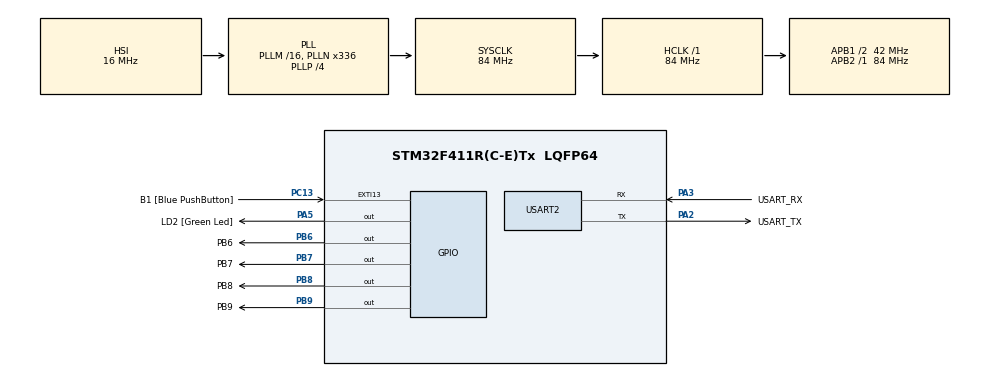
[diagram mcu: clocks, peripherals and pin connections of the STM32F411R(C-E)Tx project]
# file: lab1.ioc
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Mcu.Family=STM32F4
Mcu.Name=STM32F411R(C-E)Tx
Mcu.Package=LQFP64
NVIC.PriorityGroup=NVIC_PRIORITYGROUP_0
PA13.GPIO_Label=TMS
PA13.Mode=Serial_Wire
PA13.Signal=SYS_JTMS-SWDIO
PA14.GPIO_Label=TCK
PA14.Mode=Serial_Wire
PA14.Signal=SYS_JTCK-SWCLK
PA2.GPIO_Label=USART_TX
PA2.Mode=Asynchronous
PA2.Signal=USART2_TX
PA3.GPIO_Label=USART_RX
PA3.Mode=Asynchronous
PA3.Signal=USART2_RX
PA5.GPIO_Label=LD2 [Green Led]
PA5.Signal=GPIO_Output
PB3.GPIO_Label=SWO
PB3.Signal=SYS_JTDO-SWO
PB6.GPIO_Label=PB6
PB6.Signal=GPIO_Output
PB7.GPIO_Label=PB7
PB7.Signal=GPIO_Output
PB8.GPIO_Label=PB8
PB8.Signal=GPIO_Output
PB9.GPIO_Label=PB9
PB9.Signal=GPIO_Output
PC13-ANTI_TAMP.GPIO_Label=B1 [Blue PushButton]
PC13-ANTI_TAMP.GPIO_ModeDefaultEXTI=GPIO_MODE_IT_FALLING
PC13-ANTI_TAMP.Signal=GPXTI13
PC14-OSC32_IN.Mode=LSE-External-Oscillator
PC14-OSC32_IN.Signal=RCC_OSC32_IN
PC15-OSC32_OUT.Mode=LSE-External-Oscillator
PC15-OSC32_OUT.Signal=RCC_OSC32_OUT
PH0\ -\ OSC_IN.Mode=HSE-External-Clock-Source
PH0\ -\ OSC_IN.Signal=RCC_OSC_IN
PH1\ -\ OSC_OUT.Mode=HSE-External-Clock-Source
PH1\ -\ OSC_OUT.Signal=RCC_OSC_OUT
ProjectManager.HeapSize=0x200
ProjectManager.StackSize=0x400
ProjectManager.TargetToolchain=STM32CubeIDE
RCC.48MHZClocksFreq_Value=84000000
RCC.AHBFreq_Value=84000000
RCC.APB1CLKDivider=RCC_HCLK_DIV2
RCC.APB1Freq_Value=42000000
RCC.APB1TimFreq_Value=84000000
RCC.APB2Freq_Value=84000000
RCC.APB2TimFreq_Value=84000000
RCC.CortexFreq_Value=84000000
RCC.FLatency-AdvancedSettings=FLASH_LATENCY_2
RCC.HCLKFreq_Value=84000000
RCC.HSE_VALUE=8000000
RCC.HSI_VALUE=16000000
RCC.PLLN=336
RCC.PLLP=RCC_PLLP_DIV4
RCC.SYSCLKFreq_VALUE=84000000
RCC.SYSCLKSource=RCC_SYSCLKSOURCE_PLLCLK
RCC.VCOOutputFreq_Value=336000000
USART2.VirtualMode=VM_ASYNC
board=NUCLEO-F411RE

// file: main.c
/* USER CODE BEGIN Header */
/**
  ******************************************************************************
  * @file           : main.c
  * @brief          : Main program body
  ******************************************************************************
  * @attention
  *
  * Copyright (c) 2023 STMicroelectronics.
  * All rights reserved.
  *
  * This software is licensed under terms that can be found in the LICENSE file
  * in the root directory of this software component.
  * If no LICENSE file comes with this software, it is provided AS-IS.
  *
  ******************************************************************************
  */
/* USER CODE END Header */
#include "main.h"

UART_HandleTypeDef huart2;

void SystemClock_Config(void);
static void MX_GPIO_Init(void);
static void MX_USART2_UART_Init(void);

int main(void)
{
  /* USER CODE BEGIN 1 */
	GPIO_InitTypeDef GPIO_InitStruct = {0};
  /* USER CODE END 1 */

  /* MCU Configuration--------------------------------------------------------*/

  /* Reset of all peripherals, Initializes the Flash interface and the Systick. */
  HAL_Init();

  /* Configure the system clock */
  SystemClock_Config();

  /* Initialize all configured peripherals */
  MX_GPIO_Init();
  MX_USART2_UART_Init();

  /* Infinite loop */
  /* USER CODE BEGIN WHILE */
  while (1)
  {
	  // dioda 1
	  // czerwona 1
	  // Ustawieie wysokiej impedancji dla pinu 8 i 9
	  GPIO_InitStruct.Pin = PB8_Pin|PB9_Pin;
	  GPIO_InitStruct.Mode = GPIO_MODE_INPUT;
	  GPIO_InitStruct.Pull = GPIO_NOPULL;
	  HAL_GPIO_Init(GPIOB, &GPIO_InitStruct);

	  // Ustawienie output dla pinu 6 i 7
	  GPIO_InitStruct.Pin = PB6_Pin|PB7_Pin;
	  GPIO_InitStruct.Mode = GPIO_MODE_OUTPUT_PP;
	  GPIO_InitStruct.Pull = GPIO_NOPULL;
	  GPIO_InitStruct.Speed = GPIO_SPEED_FREQ_LOW;
	  HAL_GPIO_Init(GPIOB, &GPIO_InitStruct);

	  // Zapalenie diody czerwona 1
	  HAL_GPIO_WritePin(PB6_GPIO_Port, PB6_Pin, GPIO_PIN_SET);
	  HAL_GPIO_WritePin(PB9_GPIO_Port, PB7_Pin, GPIO_PIN_RESET);
	  HAL_Delay(500);

	  // zielona 1
	  // Ustawieie wysokiej impedancji dla pinu 7 i 9
	  GPIO_InitStruct.Pin = PB7_Pin|PB9_Pin;
	  GPIO_InitStruct.Mode = GPIO_MODE_INPUT;
	  GPIO_InitStruct.Pull = GPIO_NOPULL;
	  HAL_GPIO_Init(GPIOB, &GPIO_InitStruct);

	  // Ustawienie output dla pinu 6 i 8
	  GPIO_InitStruct.Pin = PB6_Pin|PB8_Pin;
	  GPIO_InitStruct.Mode = GPIO_MODE_OUTPUT_PP;
	  GPIO_InitStruct.Pull = GPIO_NOPULL;
	  GPIO_InitStruct.Speed = GPIO_SPEED_FREQ_LOW;
	  HAL_GPIO_Init(GPIOB, &GPIO_InitStruct);

	  // Zapalenie diody zielona 1
	  HAL_GPIO_WritePin(PB6_GPIO_Port, PB6_Pin, GPIO_PIN_SET);
	  HAL_GPIO_WritePin(PB9_GPIO_Port, PB8_Pin, GPIO_PIN_RESET);
	  HAL_Delay(500);

	  // niebieska 1
	  // Ustawieie wysokiej impedancji dla pinu 7 i 8
	  GPIO_InitStruct.Pin = PB7_Pin|PB8_Pin;
	  GPIO_InitStruct.Mode = GPIO_MODE_INPUT;
	  GPIO_InitStruct.Pull = GPIO_NOPULL;
	  HAL_GPIO_Init(GPIOB, &GPIO_InitStruct);

	  // Ustawienie output dla pinu 6 i 9
	  GPIO_InitStruct.Pin = PB6_Pin|PB9_Pin;
	  GPIO_InitStruct.Mode = GPIO_MODE_OUTPUT_PP;
	  GPIO_InitStruct.Pull = GPIO_NOPULL;
	  GPIO_InitStruct.Speed = GPIO_SPEED_FREQ_LOW;
	  HAL_GPIO_Init(GPIOB, &GPIO_InitStruct);

	  // Zapalenie diody niebieskiej 1
	  HAL_GPIO_WritePin(PB6_GPIO_Port, PB6_Pin, GPIO_PIN_SET);
	  HAL_GPIO_WritePin(PB9_GPIO_Port, PB9_Pin, GPIO_PIN_RESET);
	  HAL_Delay(500);

	  // dioda 2
	  // czerwona 2
	  // Ustawieie wysokiej impedancji dla pinu 6 i 9
	  GPIO_InitStruct.Pin = PB6_Pin|PB9_Pin;
	  GPIO_InitStruct.Mode = GPIO_MODE_INPUT;
	  GPIO_InitStruct.Pull = GPIO_NOPULL;
	  HAL_GPIO_Init(GPIOB, &GPIO_InitStruct);

	  // Ustawienie output dla pinu 7 i 8
	  GPIO_InitStruct.Pin = PB7_Pin|PB8_Pin;
	  GPIO_InitStruct.Mode = GPIO_MODE_OUTPUT_PP;
	  GPIO_InitStruct.Pull = GPIO_NOPULL;
	  GPIO_InitStruct.Speed = GPIO_SPEED_FREQ_LOW;
	  HAL_GPIO_Init(GPIOB, &GPIO_InitStruct);

	  // Zapalenie diody czerwona 2
	  HAL_GPIO_WritePin(PB7_GPIO_Port, PB7_Pin, GPIO_PIN_SET);
	  HAL_GPIO_WritePin(PB8_GPIO_Port, PB8_Pin, GPIO_PIN_RESET);
	  HAL_Delay(500);

	  // zielona 2
	  // Ustawieie wysokiej impedancji dla pinu 6 i 8
	  GPIO_InitStruct.Pin = PB6_Pin|PB8_Pin;
	  GPIO_InitStruct.Mode = GPIO_MODE_INPUT;
	  GPIO_InitStruct.Pull = GPIO_NOPULL;
	  HAL_GPIO_Init(GPIOB, &GPIO_InitStruct);

	  // Ustawienie output dla pinu 7 i 9
	  GPIO_InitStruct.Pin = PB7_Pin|PB9_Pin;
	  GPIO_InitStruct.Mode = GPIO_MODE_OUTPUT_PP;
	  GPIO_InitStruct.Pull = GPIO_NOPULL;
	  GPIO_InitStruct.Speed = GPIO_SPEED_FREQ_LOW;
	  HAL_GPIO_Init(GPIOB, &GPIO_InitStruct);

	  // Zapalenie diody zielona 1
	  HAL_GPIO_WritePin(PB7_GPIO_Port, PB7_Pin, GPIO_PIN_SET);
	  HAL_GPIO_WritePin(PB9_GPIO_Port, PB9_Pin, GPIO_PIN_RESET);
	  HAL_Delay(500);

	  // niebieska 2
	  // Ustawieie wysokiej impedancji dla pinu 8 i 9
	  GPIO_InitStruct.Pin = PB8_Pin|PB9_Pin;
	  GPIO_InitStruct.Mode = GPIO_MODE_INPUT;
	  GPIO_InitStruct.Pull = GPIO_NOPULL;
	  HAL_GPIO_Init(GPIOB, &GPIO_InitStruct);

	  // Ustawienie output dla pinu 6 i 7
	  GPIO_InitStruct.Pin = PB6_Pin|PB7_Pin;
	  GPIO_InitStruct.Mode = GPIO_MODE_OUTPUT_PP;
	  GPIO_InitStruct.Pull = GPIO_NOPULL;
	  GPIO_InitStruct.Speed = GPIO_SPEED_FREQ_LOW;
	  HAL_GPIO_Init(GPIOB, &GPIO_InitStruct);

	  // Zapalenie diody niebieskiej 1
	  HAL_GPIO_WritePin(PB7_GPIO_Port, PB7_Pin, GPIO_PIN_SET);
	  HAL_GPIO_WritePin(PB6_GPIO_Port, PB6_Pin, GPIO_PIN_RESET);
	  HAL_Delay(500);

    /* USER CODE END WHILE */

  }
}

void SystemClock_Config(void)
{
  RCC_OscInitTypeDef RCC_OscInitStruct = {0};
  RCC_ClkInitTypeDef RCC_ClkInitStruct = {0};

  /** Configure the main internal regulator output voltage
  */
  __HAL_RCC_PWR_CLK_ENABLE();
  __HAL_PWR_VOLTAGESCALING_CONFIG(PWR_REGULATOR_VOLTAGE_SCALE1);

  /** Initializes the RCC Oscillators according to the specified parameters
  * in the RCC_OscInitTypeDef structure.
  */
  RCC_OscInitStruct.OscillatorType = RCC_OSCILLATORTYPE_HSI;
  RCC_OscInitStruct.HSIState = RCC_HSI_ON;
  RCC_OscInitStruct.HSICalibrationValue = RCC_HSICALIBRATION_DEFAULT;
  RCC_OscInitStruct.PLL.PLLState = RCC_PLL_ON;
  RCC_OscInitStruct.PLL.PLLSource = RCC_PLLSOURCE_HSI;
  RCC_OscInitStruct.PLL.PLLM = 16;
  RCC_OscInitStruct.PLL.PLLN = 336;
  RCC_OscInitStruct.PLL.PLLP = RCC_PLLP_DIV4;
  RCC_OscInitStruct.PLL.PLLQ = 4;
  if (HAL_RCC_OscConfig(&RCC_OscInitStruct) != HAL_OK)
  {
    Error_Handler();
  }

  /** Initializes the CPU, AHB and APB buses clocks
  */
  RCC_ClkInitStruct.ClockType = RCC_CLOCKTYPE_HCLK|RCC_CLOCKTYPE_SYSCLK
                              |RCC_CLOCKTYPE_PCLK1|RCC_CLOCKTYPE_PCLK2;
  RCC_ClkInitStruct.SYSCLKSource = RCC_SYSCLKSOURCE_PLLCLK;
  RCC_ClkInitStruct.AHBCLKDivider = RCC_SYSCLK_DIV1;
  RCC_ClkInitStruct.APB1CLKDivider = RCC_HCLK_DIV2;
  RCC_ClkInitStruct.APB2CLKDivider = RCC_HCLK_DIV1;

  if (HAL_RCC_ClockConfig(&RCC_ClkInitStruct, FLASH_LATENCY_2) != HAL_OK)
  {
    Error_Handler();
  }
}

static void MX_USART2_UART_Init(void)
{

  huart2.Instance = USART2;
  huart2.Init.BaudRate = 115200;
  huart2.Init.WordLength = UART_WORDLENGTH_8B;
  huart2.Init.StopBits = UART_STOPBITS_1;
  huart2.Init.Parity = UART_PARITY_NONE;
  huart2.Init.Mode = UART_MODE_TX_RX;
  huart2.Init.HwFlowCtl = UART_HWCONTROL_NONE;
  huart2.Init.OverSampling = UART_OVERSAMPLING_16;
  if (HAL_UART_Init(&huart2) != HAL_OK)
  {
    Error_Handler();
  }

}

static void MX_GPIO_Init(void)
{
  GPIO_InitTypeDef GPIO_InitStruct = {0};

  /* GPIO Ports Clock Enable */
  __HAL_RCC_GPIOC_CLK_ENABLE();
  __HAL_RCC_GPIOH_CLK_ENABLE();
  __HAL_RCC_GPIOA_CLK_ENABLE();
  __HAL_RCC_GPIOB_CLK_ENABLE();

  /*Configure GPIO pin Output Level */
  HAL_GPIO_WritePin(LD2_GPIO_Port, LD2_Pin, GPIO_PIN_RESET);

  /*Configure GPIO pin Output Level */
  HAL_GPIO_WritePin(GPIOB, PB6_Pin|PB7_Pin|PB8_Pin|PB9_Pin, GPIO_PIN_RESET);

  /*Configure GPIO pin : B1_Pin */
  GPIO_InitStruct.Pin = B1_Pin;
  GPIO_InitStruct.Mode = GPIO_MODE_IT_FALLING;
  GPIO_InitStruct.Pull = GPIO_NOPULL;
  HAL_GPIO_Init(B1_GPIO_Port, &GPIO_InitStruct);

  /*Configure GPIO pin : LD2_Pin */
  GPIO_InitStruct.Pin = LD2_Pin;
  GPIO_InitStruct.Mode = GPIO_MODE_OUTPUT_PP;
  GPIO_InitStruct.Pull = GPIO_NOPULL;
  GPIO_InitStruct.Speed = GPIO_SPEED_FREQ_LOW;
  HAL_GPIO_Init(LD2_GPIO_Port, &GPIO_InitStruct);

  /*Configure GPIO pins : PB6_Pin PB7_Pin PB8_Pin PB9_Pin */
  GPIO_InitStruct.Pin = PB6_Pin|PB7_Pin|PB8_Pin|PB9_Pin;
  GPIO_InitStruct.Mode = GPIO_MODE_OUTPUT_PP;
  GPIO_InitStruct.Pull = GPIO_NOPULL;
  GPIO_InitStruct.Speed = GPIO_SPEED_FREQ_LOW;
  HAL_GPIO_Init(GPIOB, &GPIO_InitStruct);

}

void Error_Handler(void)
{
  __disable_irq();
  while (1)
  {
  }
}
